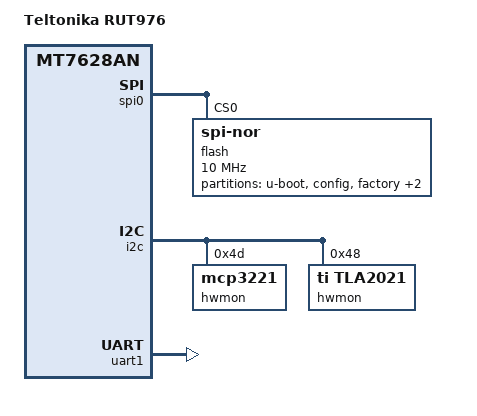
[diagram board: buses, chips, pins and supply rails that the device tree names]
// SPDX-License-Identifier: GPL-2.0-or-later OR MIT

#include "mt7628an_teltonika_rut9xx.dtsi"

/ {
	compatible = "teltonika,rut976", "mediatek,mt7628an-soc";
	model = "Teltonika RUT976";

	gpio-export {
		gpio_dcd {
			gpio-export,name = "dcd";
			gpio-export,output = <0>;
			gpios = <&gpio_hc595 14 GPIO_ACTIVE_HIGH>;
		};

		gpio_din2 {
			gpio-export,name = "digital_input2";
			gpio-export,input = <0>;
			gpios = <&gpio 37 GPIO_ACTIVE_LOW>;
		};

		gpio_output2 {
			gpio-export,name = "digital_output2";
			gpio-export,output = <0>;
			gpios = <&gpio_hc595 8 GPIO_ACTIVE_HIGH>;
		};

		gpio_relay {
			gpio-export,name = "relay";
			gpio-export,output = <0>;
			gpios = <&gpio_hc595 9 GPIO_ACTIVE_HIGH>;
		};

		gpio_rs485_rx_en {
			gpio-export,name = "rs485_rx_enable";
			gpio-export,output = <0>;
			gpios = <&gpio_hc595 13 GPIO_ACTIVE_HIGH>;
		};

		gpio_rs485_tx_en {
			gpio-export,name = "rs485_tx_enable";
			gpio-export,output = <0>;
			gpios = <&gpio 44 GPIO_ACTIVE_HIGH>;
		};

		gpio_isolated_input {
			gpio-export,name = "isolated_input";
			gpio-export,input = <0>;
			gpios = <&gpio 11 GPIO_ACTIVE_LOW>;
		};
	};
};

&spi0 {
	status = "okay";

	flash@0 {
		compatible = "jedec,spi-nor";
		reg = <0>;
		spi-max-frequency = <10000000>;

		partitions {
			compatible = "fixed-partitions";
			#address-cells = <1>;
			#size-cells = <1>;

			partition@0 {
				label = "u-boot";
				reg = <0x0 0x40000>;
				read-only;
			};

			partition@40000 {
				label = "config";
				reg = <0x040000 0x010000>;
				read-only;

				nvmem-layout {
					compatible = "fixed-layout";
					#address-cells = <1>;
					#size-cells = <1>;

					macaddr_config_0: macaddr@0 {
						reg = <0x0 0x6>;
						compatible = "mac-base";
						#nvmem-cell-cells = <1>;
					};
				};
			};

			partition@50000 {
				label = "factory";
				reg = <0x050000 0x030000>;
				read-only;

				nvmem-layout {
					compatible = "fixed-layout";
					#address-cells = <1>;
					#size-cells = <1>;

					eeprom_factory_0: eeprom@0 {
						reg = <0x20000 0x400>;
					};
				};
			};

			partition@80000 {
				compatible = "denx,uimage";
				label = "firmware";
				reg = <0x080000 0x1ed0000>;
			};

			partition@1f50000 {
				label = "event-log";
				reg = <0x1f50000 0xb0000>;
			};
		};
	};
};

&i2c {
	status = "okay";
	hwmon@4d {
		compatible = "mcp3221";
		reg = <0x4d>;
		reference-voltage-microvolt = <3300000>;
	};

	hwmon@48 {
		compatible = "ti,tla2021";
		reg = <0x48>;
	};
};

&uart1 {
	linux,rs485-enabled-at-boot-time;
	rs485-rts-delay = <0 0>;
	rs485-rx-during-tx;
	status = "okay";
};
